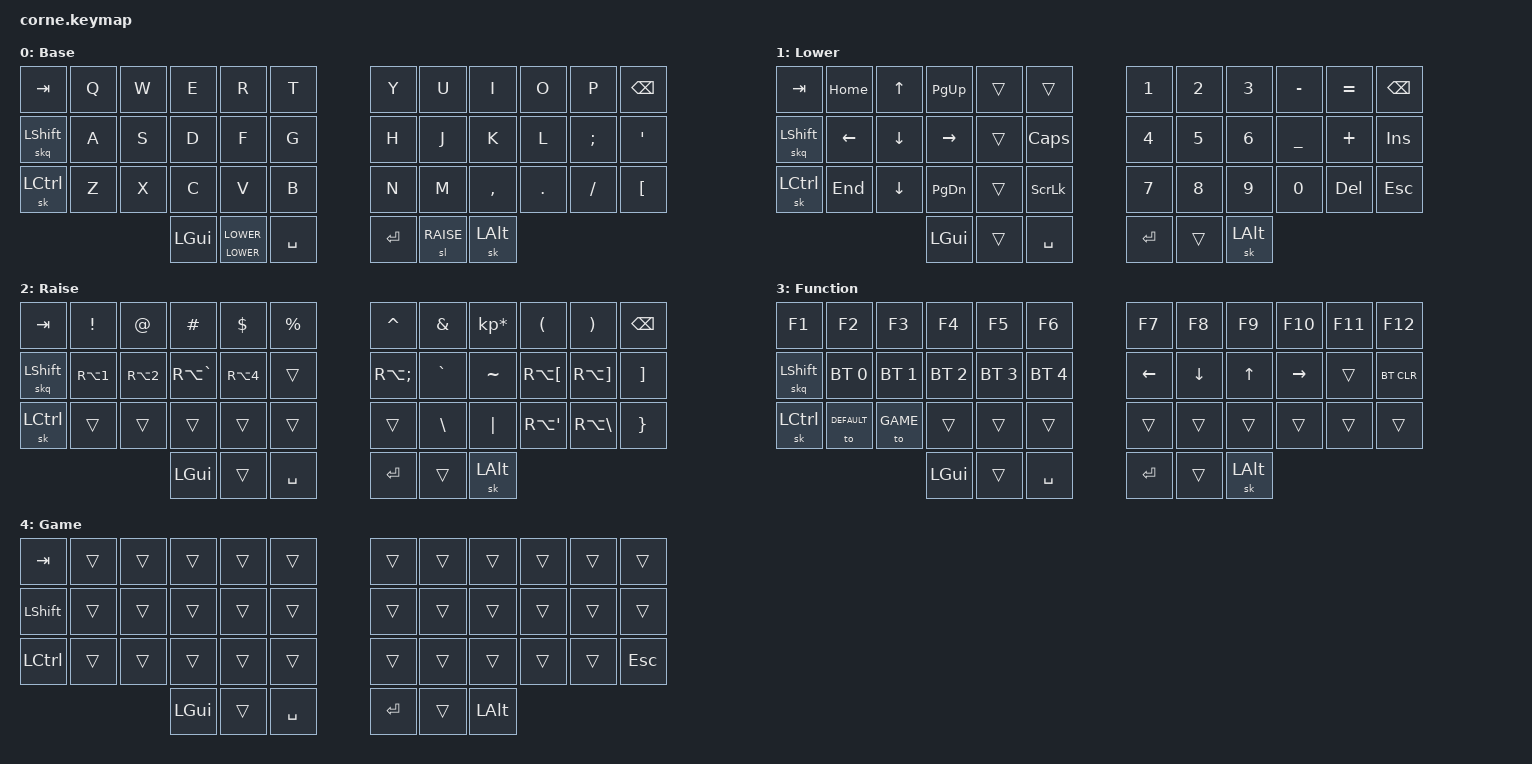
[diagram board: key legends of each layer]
/*
 * Copyright (c) 2020 The ZMK Contributors
 *
 * SPDX-License-Identifier: MIT
 */

#include <behaviors.dtsi>
#include <dt-bindings/zmk/keys.h>
#include <dt-bindings/zmk/bt.h>

#define DEFAULT 0
#define LOWER 1
#define RAISE 2
#define FUNCTION 3
#define GAME 4

/ {
        behaviors {
                mo_tog: behavior_mo_tog {
                        compatible = "zmk,behavior-hold-tap";
                        #binding-cells = <2>;
                        flavor = "hold-preferred";
                        tapping-term-ms = <200>;
                        bindings = <&mo>, <&tog>;
                };

                skq: sticky_key_quick_release {
                        compatible = "zmk,behavior-sticky-key";
                        #binding-cells = <1>;
                        bindings = <&kp>;
                        release-after-ms = <1000>;
                        quick-release;
                        ignore-modifiers;
                };
        };

        keymap {
                compatible = "zmk,keymap";

                default_layer {
// -----------------------------------------------------------------------------------------
// |  TAB |  Q  |  W  |  E  |  R  |  T  |   |  Y  |  U   |  I  |  O  |  P  | BKSP |
// | SHFT |  A  |  S  |  D  |  F  |  G  |   |  H  |  J   |  K  |  L  |  ;  |  '   |
// | CTRL |  Z  |  X  |  C  |  V  |  B  |   |  N  |  M   |  ,  |  .  |  /  |  [   |
//                    | GUI | LWR | SPC |   | ENT | RSE  | ALT |
                        display-name = "Base";
                        bindings = <
   &kp TAB    &kp Q &kp W &kp E &kp R &kp T   &kp Y &kp U  &kp I     &kp O   &kp P    &kp BSPC
   &skq LSHFT &kp A &kp S &kp D &kp F &kp G   &kp H &kp J  &kp K     &kp L   &kp SEMI &kp SQT
   &sk LCTRL  &kp Z &kp X &kp C &kp V &kp B   &kp N &kp M  &kp COMMA &kp DOT &kp FSLH &kp LBKT
   &kp LGUI   &mo_tog LOWER LOWER &kp SPACE   &kp RET &sl RAISE &sk LALT
                        >;
                };

                lower_layer {
// -----------------------------------------------------------------------------------------
// |  TAB | HOME |  UP | PGUP |     |      |   |  1  |  2  |  3  |  -  |  =  | BKSP |
// | SHFT |  LFT | DWN |  RGT |     | CLCK |   |  4  |  5  |  6  |  _  |  +  |  INS |
// | CTRL |  END | DWN | PGDN |     | SLCK |   |  7  |  8  |  9  |  0  | DEL |  ESC |
//                     |  GUI |     |  SPC |   | ENT |     | ALT |
                        display-name = "Lower";
                        bindings = <
   &kp TAB    &kp HOME &kp UP   &kp PAGE_UP   &trans &trans     &kp N1  &kp N2 &kp N3   &kp MINUS &kp EQUAL  &kp BSPC
   &skq LSHFT &kp LEFT &kp DOWN &kp RIGHT     &trans &kp CLCK   &kp N4  &kp N5 &kp N6   &kp UNDER &kp PLUS   &kp INSERT
   &sk LCTRL  &kp END  &kp DOWN &kp PAGE_DOWN &trans &kp SLCK   &kp N7  &kp N8 &kp N9   &kp N0    &kp DELETE &kp ESC
                       &kp LGUI &trans        &kp SPACE         &kp RET &trans &sk LALT
                        >;
                };

                raise_layer {
// -----------------------------------------------------------------------------------------
// |  TAB |  !  |  @  |  #  |  $  |  %  |   |  ^  |  &  |  *  |  (  |  )  | BKSP |
// | SHFT | RA1 | RA2 | RA` | RA4 |     |   | RA; |  `  |  ~  | RA[ | RA] |  ]   |
// | CTRL |     |     |     |     |     |   |     |  \  | "|" | RA' | RA\ |  }   |
//                    | GUI |     | SPC |   | ENT |     | ALT |
                        display-name = "Raise";
                        bindings = <
   &kp TAB    &kp EXCL   &kp AT     &kp HASH      &kp DLLR   &kp PRCNT   &kp CARET    &kp AMPS  &kp KP_MULTIPLY &kp LPAR     &kp RPAR     &kp BSPC
   &skq LSHFT &kp RA(N1) &kp RA(N2) &kp RA(GRAVE) &kp RA(N4) &trans      &kp RA(SEMI) &kp GRAVE &kp TILDE       &kp RA(LBKT) &kp RA(RBKT) &kp RBKT
   &sk LCTRL  &trans     &trans     &trans        &trans     &trans      &trans       &kp BSLH  &kp PIPE        &kp RA(SQT)  &kp RA(BSLH) &kp RBRC
                    	          &kp LGUI       &trans     &kp SPACE   &kp RET      &trans    &sk LALT
                        >;
                };

                func_layer {
// -----------------------------------------------------------------------------------------
// |  F1  |  F2 |  F3  |  F4 |  F5 |  F6 |   |  F7 |  F8 |  F9 | F10 | F11 |  F12  |
// | SHFT | BT1 |  BT2 | BT3 | BT4 | BT5 |   | LFT | DWN |  UP | RGT |     | BTCLR |
// | CTRL | DEF | GAME |     |     |     |   |     |     |     |     |     |       |
//                     | GUI |     | SPC |   | ENT |     | ALT |
                        display-name = "Function";
                        bindings = <
   &kp  F1    &kp F2       &kp F3       &kp F4       &kp F5       &kp F6         &kp F7    &kp F8    &kp F9   &kp F10   &kp F11  &kp F12
   &skq LSHFT &bt BT_SEL 0 &bt BT_SEL 1 &bt BT_SEL 2 &bt BT_SEL 3 &bt BT_SEL 4   &kp LEFT  &kp DOWN  &kp UP   &kp RIGHT &trans   &bt BT_CLR
   &sk LCTRL  &to DEFAULT  &to GAME     &trans       &trans       &trans         &trans    &trans    &trans   &trans    &trans   &trans
                                       &kp LGUI     &trans       &kp SPACE      &kp RET   &trans    &sk LALT
                        >;
                };

                game_layer {
// -----------------------------------------------------------------------------------------
// |  TAB |     |     |     |     |     |   |     |     |     |     |     |     |
// | SHFT |     |     |     |     |     |   |     |     |     |     |     |     |
// | CTRL |     |     |     |     |     |   |     |     |     |     |     | ESC |
//                    | GUI |     | SPC |   | ENT |     | ALT |
                        display-name = "Game";
                        bindings = <
   &kp  TAB  &trans &trans &trans   &trans &trans      &trans  &trans &trans   &trans &trans &trans
   &kp LSHFT &trans &trans &trans   &trans &trans      &trans  &trans &trans   &trans &trans &trans
   &kp LCTRL &trans &trans &trans   &trans &trans      &trans  &trans &trans   &trans &trans &kp ESC
                           &kp LGUI &trans &kp SPACE   &kp RET &trans &kp LALT
                        >;
                };

                extra_1 {
                        status = "reserved";
                };

                extra_2 {
                        status = "reserved";
                };

                extra_3 {
                        status = "reserved";
                };
        };

        conditional_layers {
                compatible = "zmk,conditional-layers";

                func_layer {
                        if-layers = <LOWER RAISE>;
                        then-layer = <FUNCTION>;
                };
        };
};
